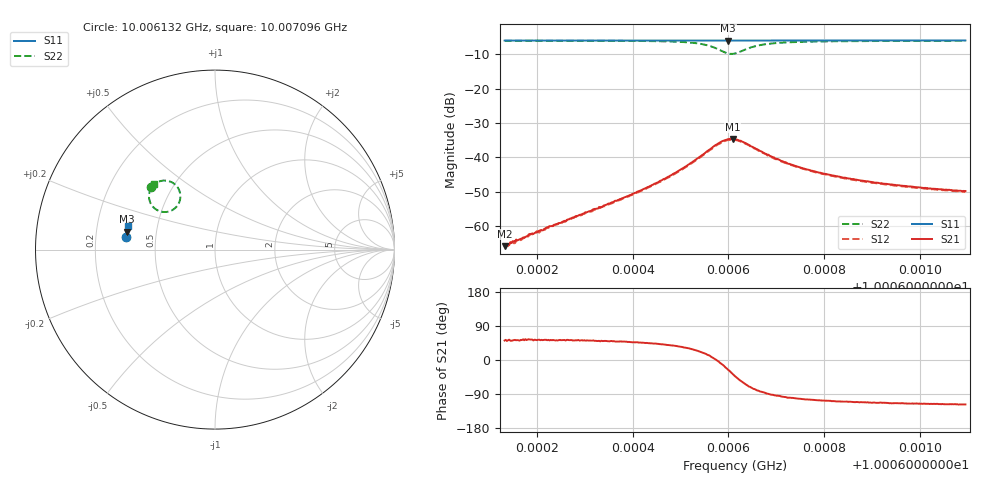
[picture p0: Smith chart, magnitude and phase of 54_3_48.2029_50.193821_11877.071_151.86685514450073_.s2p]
#  HZ  S  RI  R  50.00
! Rohde & Schwarz Vector Network Analyzer
! Rohde-Schwarz,ZNB20-2Port,1311601062101988,3.16
! Created: UTC 3/20/2024, 11:38:30 AM
! freq[Hz]  re:S11  im:S11  re:S21  im:S21  re:S12  im:S12  re:S22  im:S22
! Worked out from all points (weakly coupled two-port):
!   401 points, 10.006132 GHz to 10.007096 GHz, reference 50 ohm
!   highest |S21| = -34.59 dB at 10.006609 GHz (marker M1); lowest = -65.8 dB at 10.006132 GHz (marker M2)
!   lowest |S11| = -6.0 dB at 10.006599 GHz (marker M3), VSWR 3.01, Z = 16.8 + j4.5 ohm
!   |S11| at or under -10 dB: nowhere
!   |S22| runs from -9.9 to -6.0 dB; largest |S21 - S12| = 0.0013
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1.00061322e10  -0.4967 0.0709  0.00032 0.000402  0.000304 0.000423  -0.359 0.3467
1.00061562e10  -0.4966 0.0726  0.000392 0.000505  0.000336 0.000498  -0.3572 0.3486
1.00061851e10  -0.4963 0.0744  0.000454 0.000624  0.000423 0.000619  -0.3551 0.3509
1.00061972e10  -0.4961 0.0752  0.000483 0.000643  0.000473 0.000664  -0.3539 0.3519
1.00062068e10  -0.4962 0.0759  0.000534 0.000689  0.00048 0.000683  -0.3532 0.3527
1.00062935e10  -0.4953 0.0814  0.000907 0.00117  0.000837 0.00119  -0.3447 0.3605
1.00063923e10  -0.4943 0.0879  0.00188 0.00206  0.00173 0.00209  -0.3292 0.3715
1.00064549e10  -0.4937 0.092  0.00329 0.003  0.00309 0.00307  -0.3109 0.3799
1.00065031e10  -0.4929 0.0953  0.00563 0.00386  0.00532 0.00402  -0.2845 0.3847
1.00065488e10  -0.492 0.0984  0.0107 0.0035  0.0103 0.00394  -0.2353 0.3722
1.00065777e10  -0.491 0.1001  0.0158 -0.000654  0.0154 0.000106  -0.1966 0.3228
1.00065994e10  -0.4905 0.1005  0.0166 -0.00801  0.0165 -0.0068  -0.204 0.2537
1.0006609e10  -0.4905 0.1007  0.0148 -0.0113  0.0151 -0.0101  -0.2266 0.2276
1.00066139e10  -0.4906 0.1009  0.0135 -0.0125  0.0138 -0.0113  -0.2411 0.2183
1.00066403e10  -0.491 0.1024  0.00592 -0.0144  0.0066 -0.0139  -0.3166 0.2172
1.00066668e10  -0.4913 0.104  0.00144 -0.0123  0.00209 -0.0119  -0.3532 0.2482
1.00066933e10  -0.4911 0.106  -0.0003 -0.0101  9.81e-05 -0.00986  -0.3653 0.2752
1.00067295e10  -0.4909 0.1084  -0.00133 -0.00786  -0.000929 -0.00778  -0.3679 0.2999
1.00067752e10  -0.4905 0.1114  -0.00164 -0.00619  -0.00138 -0.00612  -0.3653 0.3189
1.00068523e10  -0.4894 0.1165  -0.00171 -0.00462  -0.00149 -0.00461  -0.3585 0.3374
1.00069366e10  -0.4884 0.122  -0.00166 -0.00371  -0.0014 -0.00372  -0.3517 0.3494
1.00070956e10  -0.4861 0.1319  -0.00148 -0.00289  -0.00131 -0.00284  -0.3408 0.3643
